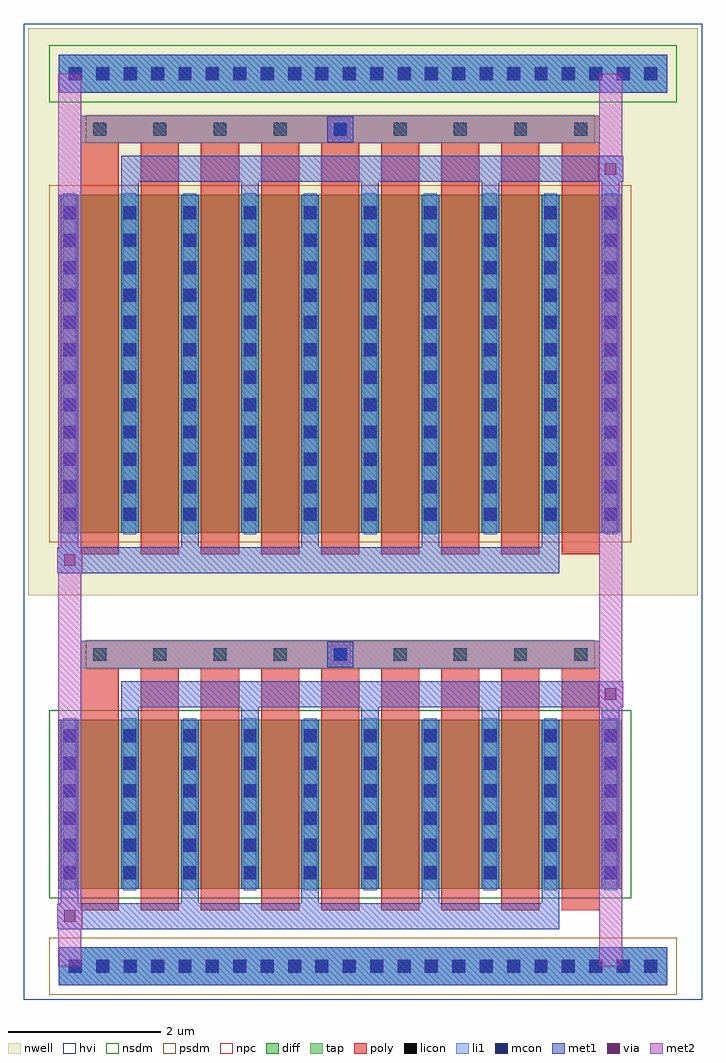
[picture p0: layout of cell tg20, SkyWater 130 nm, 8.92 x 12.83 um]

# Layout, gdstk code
import gdstk
lib = gdstk.Library(unit=1e-6, precision=1e-09)
def R(c, l, rs):  # rectangles x0, y0, x1, y1
    for r in rs: c.add(gdstk.rectangle(r[:2], r[2:], *l))
def A(c, l, x, y, w, h, nx, ny, dx, dy):  # array of equal rectangles
    R(c, l, [(x+i*dx, y+j*dy, x+i*dx+w, y+j*dy+h) for i in range(nx) for j in range(ny)])
nwell = (64, 20)
diff = (65, 20)
tap = (65, 44)
poly = (66, 20)
licon = (66, 44)
li1 = (67, 20)
mcon = (67, 44)
met1 = (68, 20)
via = (68, 44)
met2 = (69, 20)
hvi = (75, 20)
nsdm = (93, 44)
psdm = (94, 20)
npc = (95, 20)

tg20 = lib.new_cell('tg20')
R(tg20, nwell, [(-0.4,5.13,8.4,12.585)])
R(tg20, diff, [(0,1.27,7.4,3.49), (0,5.95,7.4,10.395)])
R(tg20, tap, [(0,0,8,0.5), (0,11.735,8,12.235)])
A(tg20, poly, 0.29, 0.985, 0.5, 2.79, 9, 1, 0.79, 0)
A(tg20, poly, 0.29, 3.49, 0.5, 0.86, 9, 2, 0.79, 6.905)
A(tg20, poly, 0.29, 5.665, 0.5, 5.015, 9, 1, 0.79, 0)
R(tg20, poly, [(0.29,4.17,7.11,4.53), (0.29,11.075,7.11,11.435)])
A(tg20, licon, 0.135, 0.165, 0.17, 0.17, 22, 2, 0.36, 11.735)
A(tg20, licon, 0.06, 1.395, 0.17, 0.17, 10, 6, 0.79, 0.36)
A(tg20, licon, 0.455, 4.265, 0.17, 0.17, 9, 2, 0.79, 6.905)
A(tg20, licon, 0.06, 6.11, 0.17, 0.17, 10, 12, 0.79, 0.36)
A(tg20, li1, 0.06, 1.25, 0.17, 2.26, 10, 1, 0.79, 0)
A(tg20, li1, 0.06, 5.93, 0.17, 4.485, 10, 1, 0.79, 0)
R(tg20, li1, [(0,0,8,0.5), (0.29,4.17,7.11,4.53), (0.29,11.075,7.11,11.435), (0,11.735,8,12.235)])
A(tg20, mcon, 0.135, 0.165, 0.17, 0.17, 22, 2, 0.36, 11.735)
A(tg20, mcon, 0.06, 1.395, 0.17, 0.17, 10, 6, 0.79, 0.36)
A(tg20, mcon, 0.06, 6.11, 0.17, 0.17, 10, 12, 0.79, 0.36)
R(tg20, mcon, [(3.615,4.265,3.785,4.435), (3.615,11.17,3.785,11.34)])
A(tg20, met1, 0.03, 0.74, 0.23, 0.53, 5, 2, 1.58, 4.68)
A(tg20, met1, 0.03, 1.27, 0.23, 2.22, 10, 1, 0.79, 0)
A(tg20, met1, 0.82, 3.49, 0.23, 0.51, 5, 2, 1.58, 6.905)
A(tg20, met1, 0.03, 5.95, 0.23, 4.445, 10, 1, 0.79, 0)
R(tg20, met1, [(0,0,8,0.5), (0.03,0.74,6.58,1.08), (-0.02,0.745,0.31,1.075), (0.82,3.66,7.37,4), (7.255,3.66,7.42,4), (7.09,3.665,7.42,3.995), (3.53,4.18,3.87,4.52), (0.03,5.42,6.58,5.76), (-0.02,5.425,0.31,5.755), (0.82,10.565,7.37,10.905), (7.255,10.565,7.42,10.905), (7.09,10.57,7.42,10.9), (3.53,11.085,3.87,11.425), (0,11.735,8,12.235)])
R(tg20, via, [(0.07,0.835,0.22,0.985), (7.18,3.755,7.33,3.905), (0.07,5.515,0.22,5.665), (7.18,10.66,7.33,10.81)])
R(tg20, met2, [(-0.005,0.25,0.295,11.985), (7.105,0.25,7.405,11.985), (-0.02,0.745,0.31,1.075), (7.09,3.665,7.42,3.995), (-0.02,5.425,0.31,5.755), (7.09,10.57,7.42,10.9)])
R(tg20, hvi, [(-0.46,-0.185,8.46,12.645)])
R(tg20, nsdm, [(-0.125,1.145,7.525,3.615), (-0.125,11.61,8.125,12.36)])
R(tg20, psdm, [(-0.125,-0.125,8.125,0.625), (-0.125,5.825,7.525,10.52)])
R(tg20, npc, [(0.355,4.165,7.045,4.535), (0.355,11.07,7.045,11.44)])

lib.write_gds('tg20.gds')
